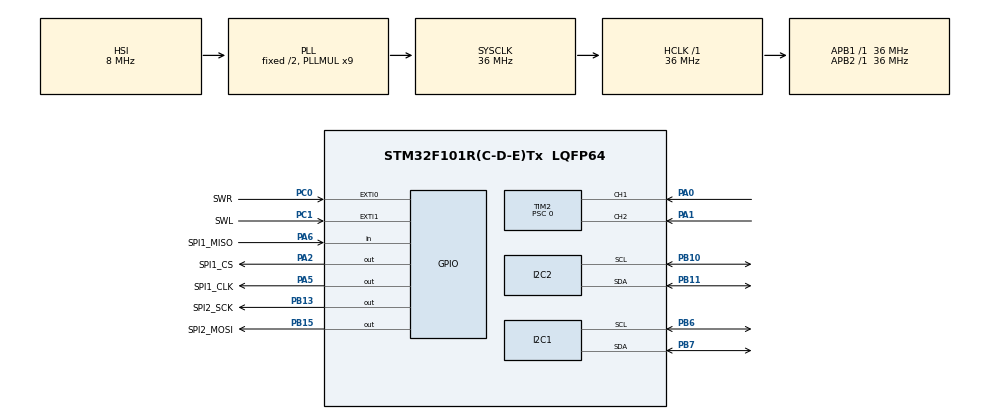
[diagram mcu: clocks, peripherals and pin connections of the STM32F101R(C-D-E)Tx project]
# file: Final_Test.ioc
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Mcu.Family=STM32F1
Mcu.Name=STM32F101R(C-D-E)Tx
Mcu.Package=LQFP64
NVIC.EXTI0_IRQn=true\:0\:0\:false\:false\:true\:true\:true
NVIC.EXTI1_IRQn=true\:0\:0\:false\:false\:true\:true\:true
NVIC.PriorityGroup=NVIC_PRIORITYGROUP_4
NVIC.TIM3_IRQn=true\:0\:0\:false\:false\:true\:true\:true
NVIC.TIM4_IRQn=true\:0\:0\:false\:false\:true\:true\:true
PA0-WKUP.Signal=S_TIM2_CH1_ETR
PA1.Signal=S_TIM2_CH2
PA13.Mode=Serial_Wire
PA13.Signal=SYS_JTMS-SWDIO
PA14.Mode=Serial_Wire
PA14.Signal=SYS_JTCK-SWCLK
PA2.GPIO_Label=SPI1_CS
PA2.GPIO_Speed=GPIO_SPEED_FREQ_HIGH
PA2.Signal=GPIO_Output
PA5.GPIO_Label=SPI1_CLK
PA5.GPIO_Speed=GPIO_SPEED_FREQ_HIGH
PA5.Signal=GPIO_Output
PA6.GPIO_Label=SPI1_MISO
PA6.Signal=GPIO_Input
PB10.Mode=I2C
PB10.Signal=I2C2_SCL
PB11.Mode=I2C
PB11.Signal=I2C2_SDA
PB13.GPIO_Label=SPI2_SCK
PB13.GPIO_Speed=GPIO_SPEED_FREQ_HIGH
PB13.Signal=GPIO_Output
PB15.GPIO_Label=SPI2_MOSI
PB15.GPIO_PuPd=GPIO_NOPULL
PB15.GPIO_Speed=GPIO_SPEED_FREQ_HIGH
PB15.Signal=GPIO_Output
PB6.Mode=I2C
PB6.Signal=I2C1_SCL
PB7.Mode=I2C
PB7.Signal=I2C1_SDA
PC0.GPIO_Label=SWR
PC0.GPIO_ModeDefaultEXTI=GPIO_MODE_IT_FALLING
PC0.Signal=GPXTI0
PC1.GPIO_Label=SWL
PC1.GPIO_ModeDefaultEXTI=GPIO_MODE_IT_FALLING
PC1.Signal=GPXTI1
ProjectManager.HeapSize=0x200
ProjectManager.StackSize=0x400
ProjectManager.TargetToolchain=SW4STM32
RCC.AHBFreq_Value=36000000
RCC.APB1Freq_Value=36000000
RCC.APB1TimFreq_Value=36000000
RCC.APB2Freq_Value=36000000
RCC.HCLKFreq_Value=36000000
RCC.PLLMUL=RCC_PLL_MUL9
RCC.SYSCLKFreq_VALUE=36000000
RCC.SYSCLKSource=RCC_SYSCLKSOURCE_PLLCLK
SH.S_TIM2_CH1_ETR.0=TIM2_CH1,Encoder_Interface
SH.S_TIM2_CH2.0=TIM2_CH2,Encoder_Interface
TIM2.AutoReloadPreload=TIM_AUTORELOAD_PRELOAD_ENABLE
TIM2.ClockDivision=TIM_CLOCKDIVISION_DIV1
TIM2.EncoderMode=TIM_ENCODERMODE_TI12
TIM2.IC1Filter=0
TIM2.Period=19
TIM2.Prescaler=0
TIM3.AutoReloadPreload=TIM_AUTORELOAD_PRELOAD_ENABLE
TIM3.ClockDivision=TIM_CLOCKDIVISION_DIV1
TIM3.Period=10075
TIM3.Prescaler=3600
TIM4.AutoReloadPreload=TIM_AUTORELOAD_PRELOAD_ENABLE
TIM4.Period=10075
TIM4.Prescaler=3600
VP_TIM3_VS_ClockSourceINT.Mode=Internal
VP_TIM4_VS_ClockSourceINT.Mode=Internal
board=custom

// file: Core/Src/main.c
/* USER CODE BEGIN Header */
/**
  ******************************************************************************
  * @file           : main.c
  * @brief          : Main program body
  ******************************************************************************
  * @attention
  *
  * <h2><center>&copy; Copyright (c) 2021 STMicroelectronics.
  * All rights reserved.</center></h2>
  *
  * This software component is licensed by ST under BSD 3-Clause license,
  * the "License"; You may not use this file except in compliance with the
  * License. You may obtain a copy of the License at:
  *                        opensource.org/licenses/BSD-3-Clause
  *
  ******************************************************************************
  */
/* USER CODE END Header */
#include "main.h"

/* USER CODE BEGIN Includes */
 // RGB LED's
#include "APA102C.h"
 // 7-Segment Driver
#include "MAX6955.h"
 // EEPROM
#include "M24C04.h"
 // Shift Register Parallel In Serieлel Out
#include "PISO.h"

/* USER CODE END Includes */

I2C_HandleTypeDef hi2c1;
I2C_HandleTypeDef hi2c2;

TIM_HandleTypeDef htim2;
TIM_HandleTypeDef htim3;
TIM_HandleTypeDef htim4;

/* USER CODE BEGIN PV */
uint8_t buf[15];
uint8_t secondenR = 5;
uint8_t TsecondenR = 0;
uint8_t minutenR = 0;
uint8_t TminutenR = 0;

uint8_t secondenL = 5;
uint8_t TsecondenL = 0;
uint8_t minutenL = 0;
uint8_t TminutenL = 0;

/* USER CODE END PV */

void SystemClock_Config(void);
static void MX_GPIO_Init(void);
static void MX_I2C2_Init(void);
static void MX_I2C1_Init(void);
static void MX_TIM3_Init(void);
static void MX_TIM2_Init(void);
static void MX_TIM4_Init(void);

/* USER CODE BEGIN 0 */
void SysTickDelayCount2(unsigned long ulCount){
    CoreDebug->DEMCR |= CoreDebug_DEMCR_TRCENA_Msk;
    ITM->LAR = 0xC5ACCE55; // Unlock de counter
    DWT->CYCCNT = 0; // Reset de cycle counter
    DWT->CTRL |= DWT_CTRL_CYCCNTENA_Msk; // Enable/start de counter

    while(DWT->CYCCNT < ulCount);
}
/* USER CODE END 0 */

int main(void)
{

  /* MCU Configuration--------------------------------------------------------*/

  /* Reset of all peripherals, Initializes the Flash interface and the Systick. */
  HAL_Init();

  /* Configure the system clock */
  SystemClock_Config();

  /* Initialize all configured peripherals */
  MX_GPIO_Init();
  MX_I2C2_Init();
  MX_I2C1_Init();
  MX_TIM3_Init();
  MX_TIM2_Init();
  MX_TIM4_Init();
  /* USER CODE BEGIN 2 */
  // 7-segment aansturen in test stand
	  SS_Start(0);

	  SS_Schrijf(0, TminutenR, 1);
	  SS_Schrijf(1, minutenR, 1);
	  SS_Schrijf(2, TsecondenR, 1);
	  SS_Schrijf(3, secondenR, 1);

	  SS_Schrijf(4, TminutenL, 1);
	  SS_Schrijf(5, minutenL, 1);
	  SS_Schrijf(6, TsecondenL, 1);
	  SS_Schrijf(7, secondenL, 1);

  // APA102C's aansturen

	  LED_Start();
	  for (uint8_t i = 0; i < 9; i++){
		  (i % 2 == 0) ? LED_Groen(50) : LED_RGB(50, 50, 50);
	  }
	  HAL_Delay(5000);

	  HAL_TIM_Encoder_Start(&htim2, TIM_CHANNEL_ALL);
  /* USER CODE END 2 */

  /* Infinite loop */
  while (1)
  {

    /* USER CODE BEGIN 3 */
	  minutenR = ((TIM2->CNT)<1);

	  Meten();
	  minutenR = ((TIM2->CNT)<1);
	  HAL_Delay(1);

	  Controle();
	  minutenR = ((TIM2->CNT)<1);
	  HAL_Delay(1);

  }
  /* USER CODE END 3 */
}

void SystemClock_Config(void)
{
  RCC_OscInitTypeDef RCC_OscInitStruct = {0};
  RCC_ClkInitTypeDef RCC_ClkInitStruct = {0};

  /** Initializes the RCC Oscillators according to the specified parameters
  * in the RCC_OscInitTypeDef structure.
  */
  RCC_OscInitStruct.OscillatorType = RCC_OSCILLATORTYPE_HSI;
  RCC_OscInitStruct.HSIState = RCC_HSI_ON;
  RCC_OscInitStruct.HSICalibrationValue = RCC_HSICALIBRATION_DEFAULT;
  RCC_OscInitStruct.PLL.PLLState = RCC_PLL_ON;
  RCC_OscInitStruct.PLL.PLLSource = RCC_PLLSOURCE_HSI_DIV2;
  RCC_OscInitStruct.PLL.PLLMUL = RCC_PLL_MUL9;
  if (HAL_RCC_OscConfig(&RCC_OscInitStruct) != HAL_OK)
  {
    Error_Handler();
  }
  /** Initializes the CPU, AHB and APB buses clocks
  */
  RCC_ClkInitStruct.ClockType = RCC_CLOCKTYPE_HCLK|RCC_CLOCKTYPE_SYSCLK
                              |RCC_CLOCKTYPE_PCLK1|RCC_CLOCKTYPE_PCLK2;
  RCC_ClkInitStruct.SYSCLKSource = RCC_SYSCLKSOURCE_PLLCLK;
  RCC_ClkInitStruct.AHBCLKDivider = RCC_SYSCLK_DIV1;
  RCC_ClkInitStruct.APB1CLKDivider = RCC_HCLK_DIV1;
  RCC_ClkInitStruct.APB2CLKDivider = RCC_HCLK_DIV1;

  if (HAL_RCC_ClockConfig(&RCC_ClkInitStruct, FLASH_LATENCY_1) != HAL_OK)
  {
    Error_Handler();
  }
}

static void MX_I2C1_Init(void)
{

  hi2c1.Instance = I2C1;
  hi2c1.Init.ClockSpeed = 100000;
  hi2c1.Init.DutyCycle = I2C_DUTYCYCLE_2;
  hi2c1.Init.OwnAddress1 = 0;
  hi2c1.Init.AddressingMode = I2C_ADDRESSINGMODE_7BIT;
  hi2c1.Init.DualAddressMode = I2C_DUALADDRESS_DISABLE;
  hi2c1.Init.OwnAddress2 = 0;
  hi2c1.Init.GeneralCallMode = I2C_GENERALCALL_DISABLE;
  hi2c1.Init.NoStretchMode = I2C_NOSTRETCH_DISABLE;
  if (HAL_I2C_Init(&hi2c1) != HAL_OK)
  {
    Error_Handler();
  }

}

static void MX_I2C2_Init(void)
{

  hi2c2.Instance = I2C2;
  hi2c2.Init.ClockSpeed = 100000;
  hi2c2.Init.DutyCycle = I2C_DUTYCYCLE_2;
  hi2c2.Init.OwnAddress1 = 0;
  hi2c2.Init.AddressingMode = I2C_ADDRESSINGMODE_7BIT;
  hi2c2.Init.DualAddressMode = I2C_DUALADDRESS_DISABLE;
  hi2c2.Init.OwnAddress2 = 0;
  hi2c2.Init.GeneralCallMode = I2C_GENERALCALL_DISABLE;
  hi2c2.Init.NoStretchMode = I2C_NOSTRETCH_DISABLE;
  if (HAL_I2C_Init(&hi2c2) != HAL_OK)
  {
    Error_Handler();
  }

}

static void MX_TIM2_Init(void)
{

  TIM_Encoder_InitTypeDef sConfig = {0};
  TIM_MasterConfigTypeDef sMasterConfig = {0};

  htim2.Instance = TIM2;
  htim2.Init.Prescaler = 0;
  htim2.Init.CounterMode = TIM_COUNTERMODE_UP;
  htim2.Init.Period = 19;
  htim2.Init.ClockDivision = TIM_CLOCKDIVISION_DIV1;
  htim2.Init.AutoReloadPreload = TIM_AUTORELOAD_PRELOAD_ENABLE;
  sConfig.EncoderMode = TIM_ENCODERMODE_TI12;
  sConfig.IC1Polarity = TIM_ICPOLARITY_RISING;
  sConfig.IC1Selection = TIM_ICSELECTION_DIRECTTI;
  sConfig.IC1Prescaler = TIM_ICPSC_DIV1;
  sConfig.IC1Filter = 0;
  sConfig.IC2Polarity = TIM_ICPOLARITY_RISING;
  sConfig.IC2Selection = TIM_ICSELECTION_DIRECTTI;
  sConfig.IC2Prescaler = TIM_ICPSC_DIV1;
  sConfig.IC2Filter = 0;
  if (HAL_TIM_Encoder_Init(&htim2, &sConfig) != HAL_OK)
  {
    Error_Handler();
  }
  sMasterConfig.MasterOutputTrigger = TIM_TRGO_RESET;
  sMasterConfig.MasterSlaveMode = TIM_MASTERSLAVEMODE_DISABLE;
  if (HAL_TIMEx_MasterConfigSynchronization(&htim2, &sMasterConfig) != HAL_OK)
  {
    Error_Handler();
  }

}

static void MX_TIM3_Init(void)
{

  TIM_ClockConfigTypeDef sClockSourceConfig = {0};
  TIM_MasterConfigTypeDef sMasterConfig = {0};

  htim3.Instance = TIM3;
  htim3.Init.Prescaler = 3600;
  htim3.Init.CounterMode = TIM_COUNTERMODE_UP;
  htim3.Init.Period = 10075;
  htim3.Init.ClockDivision = TIM_CLOCKDIVISION_DIV1;
  htim3.Init.AutoReloadPreload = TIM_AUTORELOAD_PRELOAD_ENABLE;
  if (HAL_TIM_Base_Init(&htim3) != HAL_OK)
  {
    Error_Handler();
  }
  sClockSourceConfig.ClockSource = TIM_CLOCKSOURCE_INTERNAL;
  if (HAL_TIM_ConfigClockSource(&htim3, &sClockSourceConfig) != HAL_OK)
  {
    Error_Handler();
  }
  sMasterConfig.MasterOutputTrigger = TIM_TRGO_RESET;
  sMasterConfig.MasterSlaveMode = TIM_MASTERSLAVEMODE_DISABLE;
  if (HAL_TIMEx_MasterConfigSynchronization(&htim3, &sMasterConfig) != HAL_OK)
  {
    Error_Handler();
  }

}

static void MX_TIM4_Init(void)
{

  TIM_ClockConfigTypeDef sClockSourceConfig = {0};
  TIM_MasterConfigTypeDef sMasterConfig = {0};

  htim4.Instance = TIM4;
  htim4.Init.Prescaler = 3600;
  htim4.Init.CounterMode = TIM_COUNTERMODE_UP;
  htim4.Init.Period = 10075;
  htim4.Init.ClockDivision = TIM_CLOCKDIVISION_DIV1;
  htim4.Init.AutoReloadPreload = TIM_AUTORELOAD_PRELOAD_ENABLE;
  if (HAL_TIM_Base_Init(&htim4) != HAL_OK)
  {
    Error_Handler();
  }
  sClockSourceConfig.ClockSource = TIM_CLOCKSOURCE_INTERNAL;
  if (HAL_TIM_ConfigClockSource(&htim4, &sClockSourceConfig) != HAL_OK)
  {
    Error_Handler();
  }
  sMasterConfig.MasterOutputTrigger = TIM_TRGO_RESET;
  sMasterConfig.MasterSlaveMode = TIM_MASTERSLAVEMODE_DISABLE;
  if (HAL_TIMEx_MasterConfigSynchronization(&htim4, &sMasterConfig) != HAL_OK)
  {
    Error_Handler();
  }

}

static void MX_GPIO_Init(void)
{
  GPIO_InitTypeDef GPIO_InitStruct = {0};

  /* GPIO Ports Clock Enable */
  __HAL_RCC_GPIOC_CLK_ENABLE();
  __HAL_RCC_GPIOA_CLK_ENABLE();
  __HAL_RCC_GPIOB_CLK_ENABLE();

  /*Configure GPIO pin Output Level */
  HAL_GPIO_WritePin(GPIOA, SPI1_CS_Pin|SPI1_CLK_Pin, GPIO_PIN_RESET);

  /*Configure GPIO pin Output Level */
  HAL_GPIO_WritePin(GPIOB, SPI2_SCK_Pin|SPI2_MOSI_Pin, GPIO_PIN_RESET);

  /*Configure GPIO pins : SWR_Pin SWL_Pin */
  GPIO_InitStruct.Pin = SWR_Pin|SWL_Pin;
  GPIO_InitStruct.Mode = GPIO_MODE_IT_FALLING;
  GPIO_InitStruct.Pull = GPIO_NOPULL;
  HAL_GPIO_Init(GPIOC, &GPIO_InitStruct);

  /*Configure GPIO pins : SPI1_CS_Pin SPI1_CLK_Pin */
  GPIO_InitStruct.Pin = SPI1_CS_Pin|SPI1_CLK_Pin;
  GPIO_InitStruct.Mode = GPIO_MODE_OUTPUT_PP;
  GPIO_InitStruct.Pull = GPIO_NOPULL;
  GPIO_InitStruct.Speed = GPIO_SPEED_FREQ_HIGH;
  HAL_GPIO_Init(GPIOA, &GPIO_InitStruct);

  /*Configure GPIO pin : SPI1_MISO_Pin */
  GPIO_InitStruct.Pin = SPI1_MISO_Pin;
  GPIO_InitStruct.Mode = GPIO_MODE_INPUT;
  GPIO_InitStruct.Pull = GPIO_NOPULL;
  HAL_GPIO_Init(SPI1_MISO_GPIO_Port, &GPIO_InitStruct);

  /*Configure GPIO pins : SPI2_SCK_Pin SPI2_MOSI_Pin */
  GPIO_InitStruct.Pin = SPI2_SCK_Pin|SPI2_MOSI_Pin;
  GPIO_InitStruct.Mode = GPIO_MODE_OUTPUT_PP;
  GPIO_InitStruct.Pull = GPIO_NOPULL;
  GPIO_InitStruct.Speed = GPIO_SPEED_FREQ_HIGH;
  HAL_GPIO_Init(GPIOB, &GPIO_InitStruct);

  /* EXTI interrupt init*/
  HAL_NVIC_SetPriority(EXTI0_IRQn, 0, 0);
  HAL_NVIC_EnableIRQ(EXTI0_IRQn);

  HAL_NVIC_SetPriority(EXTI1_IRQn, 0, 0);
  HAL_NVIC_EnableIRQ(EXTI1_IRQn);

}

/* USER CODE BEGIN 4 */
void HAL_TIM_PeriodElapsedCallback(TIM_HandleTypeDef *htim){
	if (htim == &htim4){
		if (secondenR != 0){
			secondenR--;
		} else if (TsecondenR != 0){
			secondenR = 9;
			TsecondenR--;
		} else if (minutenR != 0){
			secondenR = 9;
			TsecondenR = 5;
			minutenR--;
		} else if (TminutenR != 0){
			secondenR = 9;
			TsecondenR = 5;
			minutenR = 9;
			TminutenR--;
		}
	}

	if (htim == &htim3){
		if (secondenL != 0){
			secondenL--;
		} else if (TsecondenL != 0){
			secondenL = 9;
			TsecondenL--;
		} else if (minutenL != 0){
			secondenL = 9;
			TsecondenL = 5;
			minutenL--;
		} else if (TminutenL != 0){
			secondenL = 9;
			TsecondenL = 5;
			minutenL = 9;
			TminutenL--;
		}
	}

	if (secondenR == 0 && TsecondenR == 0 && minutenR == 0 && TminutenR == 0 && (secondenL == 0 && TsecondenL == 0 && minutenL == 0 && TminutenL == 0) == 0 ){
		SS_Schrijf(0, 0xAD, 0);
		SS_Schrijf(1, 0xAD, 0);
		SS_Schrijf(2, 0xAD, 0);
		SS_Schrijf(3, 0xAD, 0);

		SS_Schrijf(4, TminutenL, 1);
		SS_Schrijf(5, minutenL, 1);
		SS_Schrijf(6, TsecondenL, 1);
		SS_Schrijf(7, secondenL, 1);

	} else if (secondenL == 0 && TsecondenL == 0 && minutenL == 0 && TminutenL == 0 && (secondenR == 0 && TsecondenR == 0 && minutenR == 0 && TminutenR == 0) == 0 ){
		SS_Schrijf(0, TminutenR, 1);
		SS_Schrijf(1, minutenR, 1);
		SS_Schrijf(2, TsecondenR, 1);
		SS_Schrijf(3, secondenR, 1);

		SS_Schrijf(4, 0xAD, 0);
		SS_Schrijf(5, 0xAD, 0);
		SS_Schrijf(6, 0xAD, 0);
		SS_Schrijf(7, 0xAD, 0);

	} else if (secondenL == 0 && TsecondenL == 0 && minutenL == 0 && TminutenL == 0 && secondenR == 0 && TsecondenR == 0 && minutenR == 0 && TminutenR == 0){
		SS_Schrijf(0, 0xAD, 0);
		SS_Schrijf(1, 0xAD, 0);
		SS_Schrijf(2, 0xAD, 0);
		SS_Schrijf(3, 0xAD, 0);

		SS_Schrijf(4, 0xAD, 0);
		SS_Schrijf(5, 0xAD, 0);
		SS_Schrijf(6, 0xAD, 0);
		SS_Schrijf(7, 0xAD, 0);

	} else {
		SS_Schrijf(0, TminutenR, 1);
		SS_Schrijf(1, minutenR, 1);
		SS_Schrijf(2, TsecondenR, 1);
		SS_Schrijf(3, secondenR, 1);

		SS_Schrijf(4, TminutenL, 1);
		SS_Schrijf(5, minutenL, 1);
		SS_Schrijf(6, TsecondenL, 1);
		SS_Schrijf(7, secondenL, 1);
	}
}

void HAL_GPIO_EXTI_Callback(uint16_t GPIO_Pin){
	if (GPIO_Pin == SWR_Pin){
		HAL_TIM_Base_Stop_IT(&htim4);
		HAL_TIM_Base_Start_IT(&htim3);
	}

	if (GPIO_Pin == SWL_Pin){
		HAL_TIM_Base_Stop_IT(&htim3);
		HAL_TIM_Base_Start_IT(&htim4);
	}
}
/* USER CODE END 4 */

void Error_Handler(void)
{
  __disable_irq();
  while (1)
  {
  }
}

/************************ (C) COPYRIGHT STMicroelectronics *****END OF FILE****/
